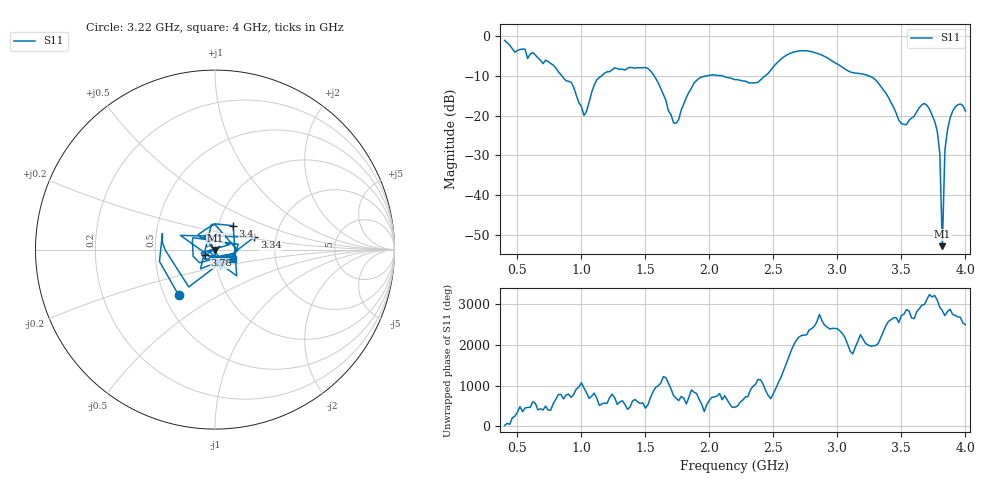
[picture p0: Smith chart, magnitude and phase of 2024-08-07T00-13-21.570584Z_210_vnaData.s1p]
!Created with skrf (http://scikit-rf.org).
# Hz S RI R 50.0
!freq ReS11 ImS11
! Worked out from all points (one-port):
!   181 points, 400 MHz to 4 GHz, reference 50 ohm
!   lowest |S11| = -52.7 dB at 3.82 GHz (marker M1), VSWR 1.00, Z = 50.1 - j0.181 ohm
!   |S11| at or under -10 dB: 1.567 GHz to 1.988 GHz (421.5 MHz wide, 23.7 % of centre); 2.09 GHz to 2.439 GHz (348.9 MHz wide, 15.4 % of centre); 3.24 GHz to end of sweep (the widest 3 of 4)
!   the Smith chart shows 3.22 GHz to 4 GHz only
!   S11 on the Smith chart (normalised r, x): 3.22 GHz: 0.59, -0.33; 3.34 GHz: 1.54, +0.23; 3.4 GHz: 1.18, +0.32; 3.78 GHz: 0.89, -0.05; 4 GHz: 1.22, -0.13
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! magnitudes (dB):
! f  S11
! 400 MHz  -1.2
! 860 MHz  -10.6
! 920 MHz  -11.7
! 1.02 GHz  -20.0
! 1.12 GHz  -11.1
! 1.3 GHz  -8.5
! 1.52 GHz  -8.2
! 1.6 GHz  -11.8
! 1.72 GHz  -21.8
! 1.76 GHz  -21.0
! 1.92 GHz  -10.7
! 2.2 GHz  -11.0
! 2.38 GHz  -11.7
! 2.66 GHz  -4.1
! 3.1 GHz  -9.1
! 3.22 GHz  -9.8
! 3.34 GHz  -12.8
! 3.4 GHz  -15.5
! 3.5 GHz  -22.0
! 3.56 GHz  -21.2
! 3.68 GHz  -17.0
! 3.78 GHz  -23.9
! 3.8 GHz  -29.5
! 3.82 GHz  -52.7
! 3.84 GHz  -28.7
! 3.86 GHz  -23.6
! 3.92 GHz  -17.9
! 4 GHz  -18.9
